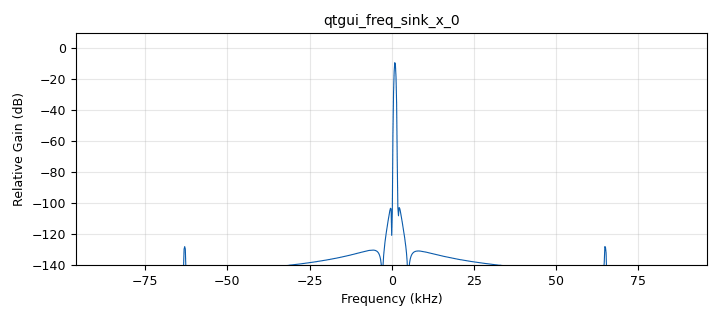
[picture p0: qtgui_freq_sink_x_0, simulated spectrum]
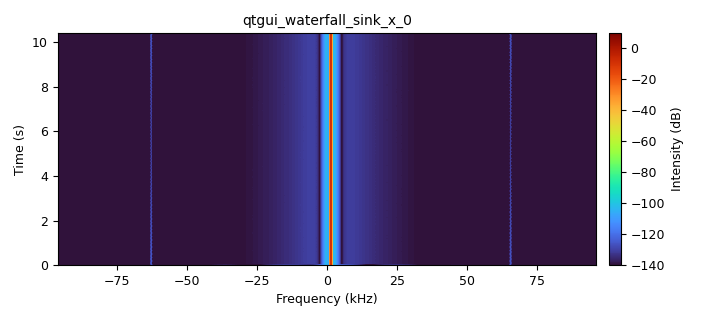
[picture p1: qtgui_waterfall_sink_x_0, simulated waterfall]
options:
  parameters:
    category: Custom
    generate_options: qt_gui
    id: test_qtgui_msg
    output_language: python
    title: Show spectrum analyzer
  states: {}

blocks:
- name: samp_rate
  id: variable
  parameters:
    value: '192000'
  states: {}
- name: analog_sig_source_x_0
  id: analog_sig_source_x
  parameters:
    amp: '1'
    freq: '1000'
    offset: '0'
    phase: '0'
    samp_rate: samp_rate
    type: complex
    waveform: analog.GR_COS_WAVE
  states: {}
- name: blocks_message_debug_0
  id: blocks_message_debug
  parameters: {}
  states: {state: disabled}
- name: blocks_throttle_0
  id: blocks_throttle
  parameters:
    samples_per_second: samp_rate
    type: complex
  states: {}
- name: freq_xlating_fir_filter_xxx_0
  id: freq_xlating_fir_filter_xxx
  parameters:
    center_freq: '0'
    decim: '1'
    samp_rate: samp_rate
    taps: firdes.low_pass(1,samp_rate,samp_rate/2, samp_rate/8)
    type: ccf
  states: {}
- name: note_0
  id: note
  parameters:
    comment: |-
      The Throttle and Frequency Xlating FIR Filter blocks
      are emulating a hardware device such as a USRP 
      which is tuned by a message.
    note: View Block Comments
  states: {}
- name: qtgui_edit_box_msg_0
  id: qtgui_edit_box_msg
  parameters:
    gui_hint: 0,0,1,1
    key: freq
    label: Frequency
    type: float
    value: '0'
  states: {}
- name: qtgui_freq_sink_x_0
  id: qtgui_freq_sink_x
  parameters:
    bw: samp_rate
    fc: '0'
    fftsize: '1024'
    gui_hint: 1,0,1,2
    legend: 'False'
    type: complex
    wintype: fft.window.WIN_BLACKMAN_hARRIS
  states: {}
- name: qtgui_waterfall_sink_x_0
  id: qtgui_waterfall_sink_x
  parameters:
    bw: samp_rate
    fc: '0'
    fftsize: '1024'
    gui_hint: 2,0,1,2
    type: complex
    wintype: fft.window.WIN_BLACKMAN_hARRIS
  states: {}

connections:
- [analog_sig_source_x_0, '0', blocks_throttle_0, '0']
- [blocks_throttle_0, '0', freq_xlating_fir_filter_xxx_0, '0']
- [freq_xlating_fir_filter_xxx_0, '0', qtgui_freq_sink_x_0, '0']
- [freq_xlating_fir_filter_xxx_0, '0', qtgui_waterfall_sink_x_0, '0']
- [qtgui_edit_box_msg_0, msg, blocks_message_debug_0, print]
- [qtgui_edit_box_msg_0, msg, freq_xlating_fir_filter_xxx_0, freq]
- [qtgui_edit_box_msg_0, msg, qtgui_freq_sink_x_0, freq]
- [qtgui_edit_box_msg_0, msg, qtgui_waterfall_sink_x_0, freq]
- [qtgui_freq_sink_x_0, freq, qtgui_edit_box_msg_0, val]
- [qtgui_waterfall_sink_x_0, freq, qtgui_edit_box_msg_0, val]

metadata:
  file_format: 1
